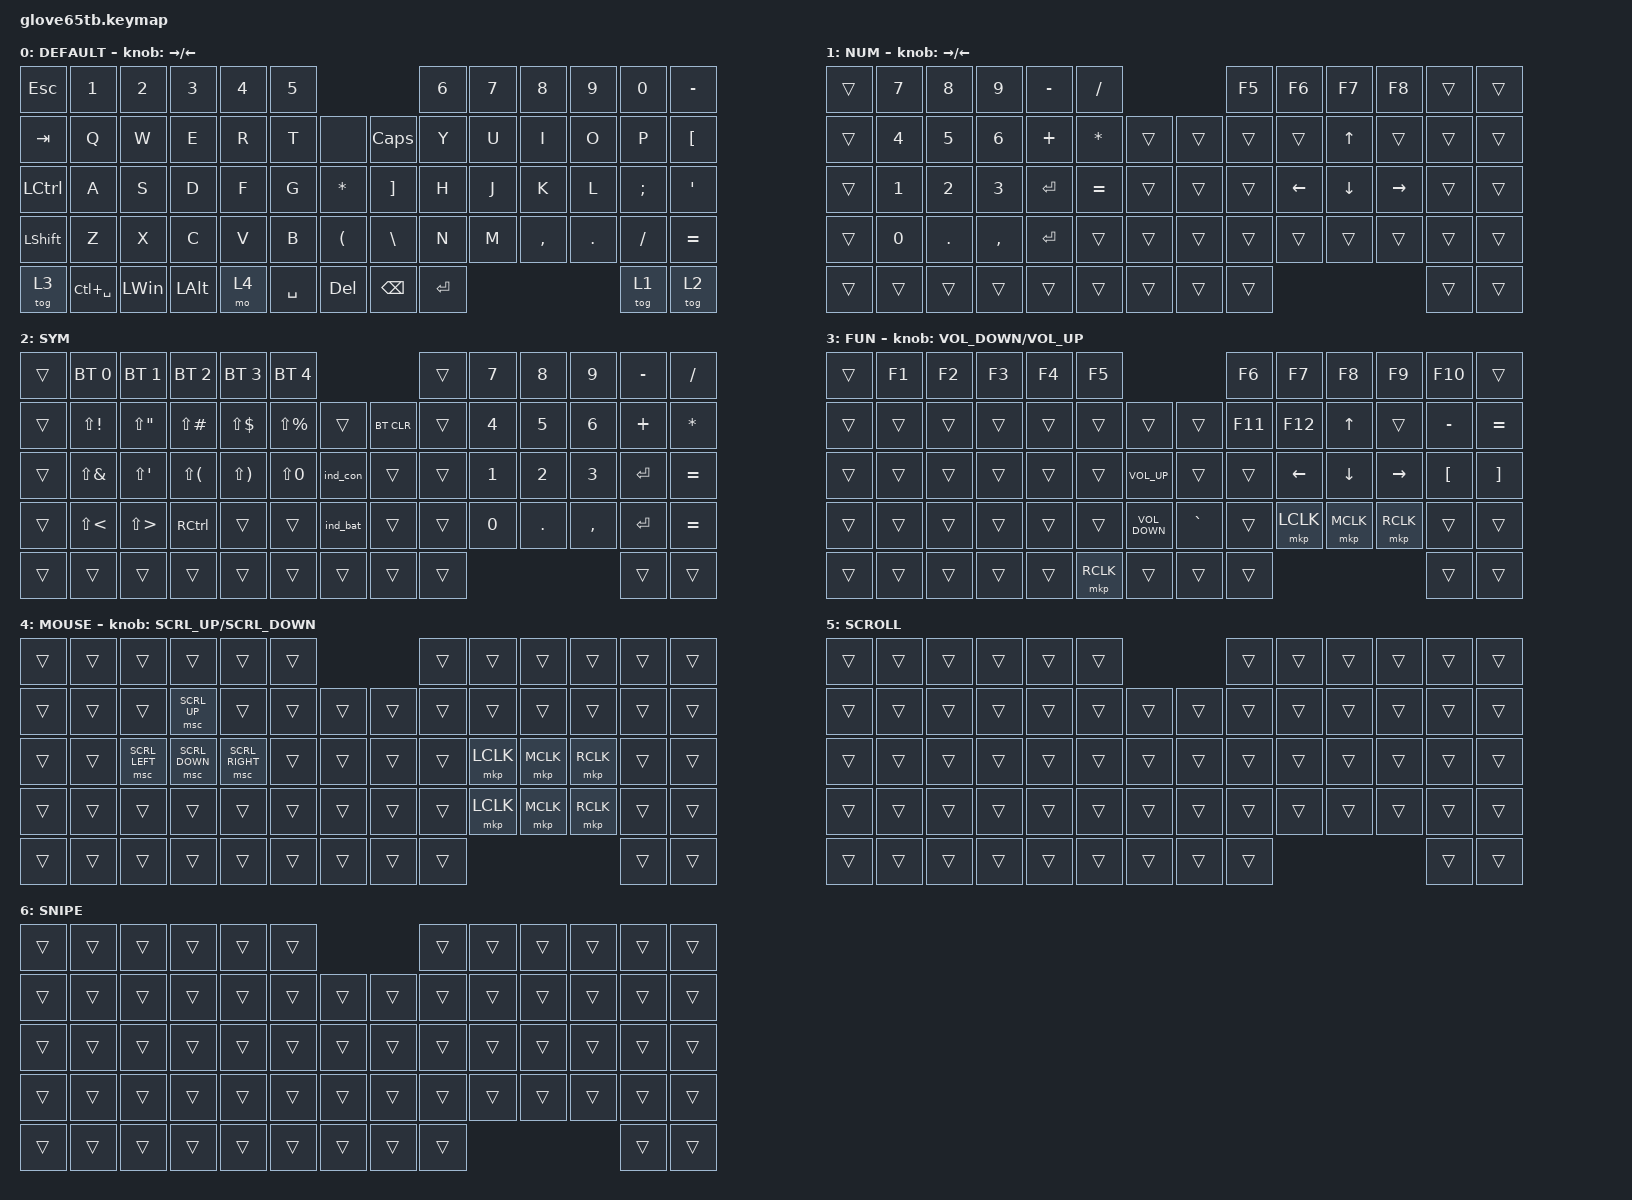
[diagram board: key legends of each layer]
#define ZMK_POINTING_DEFAULT_SCRL_VAL 150

#include <behaviors/rgbled_widget.dtsi>
#include <dt-bindings/zmk/input_transform.h>
#include <input/processors.dtsi>
#include <zephyr/dt-bindings/input/input-event-codes.h>
#include <behaviors.dtsi>
#include <dt-bindings/zmk/bt.h>
#include <dt-bindings/zmk/keys.h>
#include <dt-bindings/zmk/pointing.h>

// Layer Numbering

#define DEFAULT 0
#define NUM     1
#define SYM     2
#define FUN     3
#define MOUSE   4
#define SCROLL  5
#define SNIPE   6

&mmv {
    delay-ms = <20>;
    trigger-period-ms = <5>;
    time-to-max-speed-ms = <100>;
    acceleration-exponent = <2>;
};

&msc {
    delay-ms = <3>;
    trigger-period-ms = <3>;
    time-to-max-speed-ms = <100>;
    acceleration-exponent = <0>;
};

/ {
    input_processors {
        zip_wheel_scaler: zip_wheel_scaler {
            compatible = "zmk,input-processor-scaler";
            #input-processor-cells = <2>;
            type = <INPUT_EV_REL>;
            codes = <INPUT_REL_WHEEL>;
            track-remainders;
        };
    };
};

/ {
    combos {
        compatible = "zmk,combos";

        scroll {
            bindings = <&mo 5>;
            key-positions = <49 50>;
        };
    };

    behaviors {
        sensor_rotate_kp: sensor_rotate_kp {
            compatible = "zmk,behavior-sensor-rotate-var";
            #sensor-binding-cells = <2>;
            bindings = <&kp>, <&kp>;
        };

        mouse_wheel_scroll: mouse_wheel_scroll {
            compatible = "zmk,behavior-sensor-rotate-var";
            #sensor-binding-cells = <2>;
            bindings = <&msc>, <&msc>;

            tap-ms = <20>;
        };
    };

    keymap {
        compatible = "zmk,keymap";

        default_layer {
            label = "DEFAULT";
            bindings = <
&kp ESC           &kp N1         &kp N2        &kp N3        &kp N4  &kp N5                                              &kp N6     &kp N7  &kp N8     &kp N9   &kp N0    &kp MINUS
&kp TAB           &kp Q          &kp W         &kp E         &kp R   &kp T      &none                 &kp CAPSLOCK       &kp Y      &kp U   &kp I      &kp O    &kp P     &kp LEFT_BRACKET
&kp LEFT_CONTROL  &kp A          &kp S         &kp D         &kp F   &kp G      &kp ASTRK             &kp RIGHT_BRACKET  &kp H      &kp J   &kp K      &kp L    &kp SEMI  &kp SINGLE_QUOTE
&kp LEFT_SHIFT    &kp Z          &kp X         &kp C         &kp V   &kp B      &kp LEFT_PARENTHESIS  &kp BACKSLASH      &kp N      &kp M   &kp COMMA  &kp DOT  &kp FSLH  &kp EQUAL
&tog 3            &kp LC(SPACE)  &kp LEFT_WIN  &kp LEFT_ALT  &mo 4   &kp SPACE  &kp DEL               &kp BSPC           &kp ENTER                              &tog 1    &tog 2
            >;

            sensor-bindings = <&sensor_rotate_kp RIGHT LEFT>;
        };

        number_layer {
            label = "NUM";
            bindings = <
&trans  &kp N7  &kp N8   &kp N9     &kp MINUS  &kp FSLH                      &kp F5  &kp F6    &kp F7        &kp F8     &trans  &trans
&trans  &kp N4  &kp N5   &kp N6     &kp PLUS   &kp ASTERISK  &trans  &trans  &trans  &trans    &kp UP_ARROW  &trans     &trans  &trans
&trans  &kp N1  &kp N2   &kp N3     &kp ENTER  &kp EQUAL     &trans  &trans  &trans  &kp LEFT  &kp DOWN      &kp RIGHT  &trans  &trans
&trans  &kp N0  &kp DOT  &kp COMMA  &kp ENTER  &trans        &trans  &trans  &trans  &trans    &trans        &trans     &trans  &trans
&trans  &trans  &trans   &trans     &trans     &trans        &trans  &trans  &trans                                     &trans  &trans
            >;

            sensor-bindings = <&sensor_rotate_kp RIGHT LEFT>;
        };

        symbol_layer {
            label = "SYM";
            bindings = <
&trans  &bt BT_SEL 0  &bt BT_SEL 1  &bt BT_SEL 2   &bt BT_SEL 3  &bt BT_SEL 4                         &trans  &kp N7  &kp N8   &kp N9     &kp MINUS  &kp FSLH
&trans  &kp LS(EXCL)  &kp LS(DQT)   &kp LS(POUND)  &kp LS(DLLR)  &kp LS(PRCNT)  &trans    &bt BT_CLR  &trans  &kp N4  &kp N5   &kp N6     &kp PLUS   &kp STAR
&trans  &kp LS(AMPS)  &kp LS(SQT)   &kp LS(LPAR)   &kp LS(RPAR)  &kp LS(N0)     &ind_con  &trans      &trans  &kp N1  &kp N2   &kp N3     &kp RET    &kp EQUAL
&trans  &kp LS(LT)    &kp LS(GT)    &kp RCTRL      &trans        &trans         &ind_bat  &trans      &trans  &kp N0  &kp DOT  &kp COMMA  &kp RET    &kp EQUAL
&trans  &trans        &trans        &trans         &trans        &trans         &trans    &trans      &trans                              &trans     &trans
            >;
        };

        function_layer {
            label = "FUN";
            bindings = <
&trans  &kp F1  &kp F2  &kp F3  &kp F4  &kp F5                                   &kp F6   &kp F7          &kp F8          &kp F9           &kp F10           &trans
&trans  &trans  &trans  &trans  &trans  &trans     &trans             &trans     &kp F11  &kp F12         &kp UP_ARROW    &trans           &kp MINUS         &kp EQUAL
&trans  &trans  &trans  &trans  &trans  &trans     &kp C_VOLUME_UP    &trans     &trans   &kp LEFT_ARROW  &kp DOWN_ARROW  &kp RIGHT_ARROW  &kp LEFT_BRACKET  &kp RIGHT_BRACKET
&trans  &trans  &trans  &trans  &trans  &trans     &kp C_VOLUME_DOWN  &kp GRAVE  &trans   &mkp LCLK       &mkp MCLK       &mkp RCLK        &trans            &trans
&trans  &trans  &trans  &trans  &trans  &mkp RCLK  &trans             &trans     &trans                                                    &trans            &trans
            >;

            sensor-bindings = <&sensor_rotate_kp C_VOLUME_DOWN C_VOLUME_UP>;
        };

        mouse_layer {
            label = "MOUSE";
            bindings = <
&trans  &trans  &trans          &trans          &trans           &trans                  &trans  &trans     &trans     &trans     &trans  &trans
&trans  &trans  &trans          &msc SCRL_UP    &trans           &trans  &trans  &trans  &trans  &trans     &trans     &trans     &trans  &trans
&trans  &trans  &msc SCRL_LEFT  &msc SCRL_DOWN  &msc SCRL_RIGHT  &trans  &trans  &trans  &trans  &mkp LCLK  &mkp MCLK  &mkp RCLK  &trans  &trans
&trans  &trans  &trans          &trans          &trans           &trans  &trans  &trans  &trans  &mkp LCLK  &mkp MCLK  &mkp RCLK  &trans  &trans
&trans  &trans  &trans          &trans          &trans           &trans  &trans  &trans  &trans                                   &trans  &trans
            >;

            sensor-bindings = <&mouse_wheel_scroll SCRL_UP SCRL_DOWN>;
        };

        scroll_layer {
            label = "SCROLL";
            bindings = <
&trans  &trans  &trans  &trans  &trans  &trans                  &trans  &trans  &trans  &trans  &trans  &trans
&trans  &trans  &trans  &trans  &trans  &trans  &trans  &trans  &trans  &trans  &trans  &trans  &trans  &trans
&trans  &trans  &trans  &trans  &trans  &trans  &trans  &trans  &trans  &trans  &trans  &trans  &trans  &trans
&trans  &trans  &trans  &trans  &trans  &trans  &trans  &trans  &trans  &trans  &trans  &trans  &trans  &trans
&trans  &trans  &trans  &trans  &trans  &trans  &trans  &trans  &trans                          &trans  &trans
            >;
        };

        snipe_layer {
            label = "SNIPE";
            bindings = <
&trans  &trans  &trans  &trans  &trans  &trans                  &trans  &trans  &trans  &trans  &trans  &trans
&trans  &trans  &trans  &trans  &trans  &trans  &trans  &trans  &trans  &trans  &trans  &trans  &trans  &trans
&trans  &trans  &trans  &trans  &trans  &trans  &trans  &trans  &trans  &trans  &trans  &trans  &trans  &trans
&trans  &trans  &trans  &trans  &trans  &trans  &trans  &trans  &trans  &trans  &trans  &trans  &trans  &trans
&trans  &trans  &trans  &trans  &trans  &trans  &trans  &trans  &trans                          &trans  &trans
            >;
        };
    };
};
